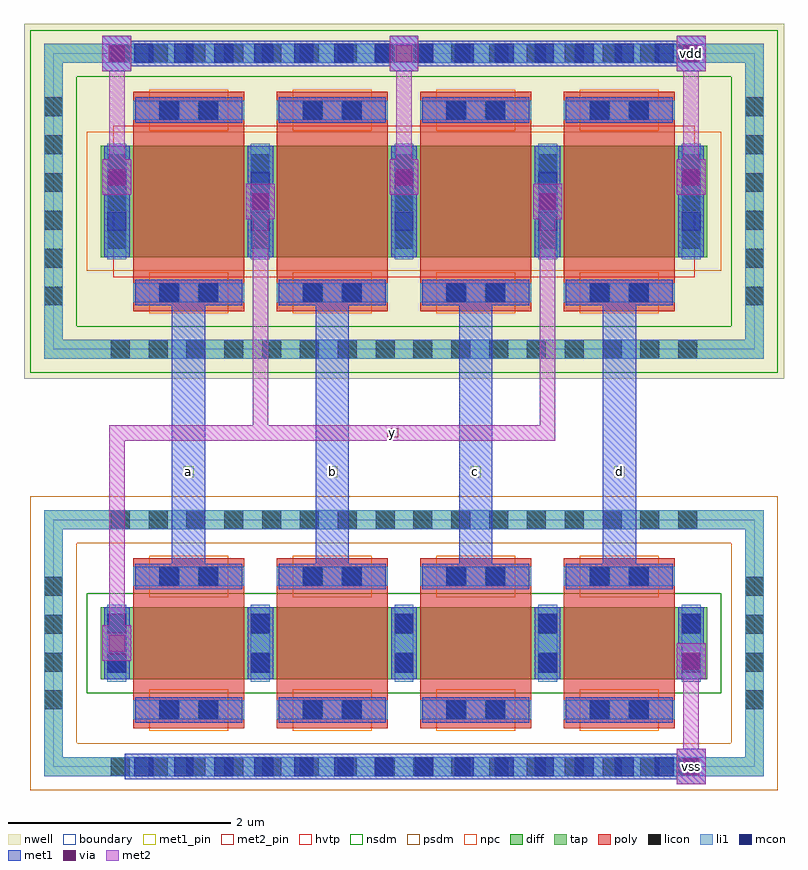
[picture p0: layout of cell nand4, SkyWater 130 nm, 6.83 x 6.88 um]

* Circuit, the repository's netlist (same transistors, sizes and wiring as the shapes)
* SPDX-License-Identifier: Apache-2.0
* Copyright 2026 Mauro Rodriguez Blasco
*
* The encoder's four-input NAND, drawn like a standard cell: PMOS vdd | y | vdd | y | vdd, NMOS
* in series y | m1 | m2 | m3 | vss, input a next to y. Reference for LVS (scripts/flow.py lvs nand4).
.subckt nand4 a b c d y vdd vss
XP1 y a vdd vdd sky130_fd_pr__pfet_01v8_hvt w=1 l=1
XP2 y b vdd vdd sky130_fd_pr__pfet_01v8_hvt w=1 l=1
XP3 y c vdd vdd sky130_fd_pr__pfet_01v8_hvt w=1 l=1
XP4 y d vdd vdd sky130_fd_pr__pfet_01v8_hvt w=1 l=1
XN1 y a m1 vss sky130_fd_pr__nfet_01v8 w=0.65 l=1
XN2 m1 b m2 vss sky130_fd_pr__nfet_01v8 w=0.65 l=1
XN3 m2 c m3 vss sky130_fd_pr__nfet_01v8 w=0.65 l=1
XN4 m3 d vss vss sky130_fd_pr__nfet_01v8 w=0.65 l=1
.ends nand4

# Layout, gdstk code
import gdstk
lib = gdstk.Library(unit=1e-6, precision=1e-09)
def R(c, l, rs):  # rectangles x0, y0, x1, y1
    for r in rs: c.add(gdstk.rectangle(r[:2], r[2:], *l))
def A(c, l, x, y, w, h, nx, ny, dx, dy):  # array of equal rectangles
    R(c, l, [(x+i*dx, y+j*dy, x+i*dx+w, y+j*dy+h) for i in range(nx) for j in range(ny)])
nwell = (64, 20)
diff = (65, 20)
tap = (65, 44)
poly = (66, 20)
licon = (66, 44)
li1 = (67, 20)
mcon = (67, 44)
met1_pin = (68, 16)
met1 = (68, 20)
via = (68, 44)
met2_pin = (69, 16)
met2 = (69, 20)
hvtp = (78, 44)
nsdm = (93, 44)
psdm = (94, 20)
npc = (95, 20)
boundary = (235, 4)

sky130_fd_pr__pfet_01v8_ = lib.new_cell('sky130_fd_pr__pfet_01v8_hvt_CRFMCB')
R(sky130_fd_pr__pfet_01v8_, nwell, [(-3.415,-1.595,3.415,1.595)])
R(sky130_fd_pr__pfet_01v8_, diff, [(-2.725,-0.5,2.725,0.5)])
R(sky130_fd_pr__pfet_01v8_, tap, [(-3.235,-1.415,3.235,-1.245), (-3.235,-1.245,-3.065,1.245), (3.065,-1.245,3.235,1.245), (-3.235,1.245,3.235,1.415)])
A(sky130_fd_pr__pfet_01v8_, poly, -2.435, -0.985, 1, 1.97, 4, 1, 1.29, 0)
A(sky130_fd_pr__pfet_01v8_, licon, -2.635, -1.415, 0.17, 0.17, 16, 2, 0.34, 2.66)
A(sky130_fd_pr__pfet_01v8_, licon, -3.235, -0.935, 0.17, 0.17, 1, 6, 0, 0.34)
A(sky130_fd_pr__pfet_01v8_, licon, 3.065, -0.935, 0.17, 0.17, 1, 6, 0, 0.34)
A(sky130_fd_pr__pfet_01v8_, licon, -2.665, -0.425, 0.17, 0.17, 5, 3, 1.29, 0.34)
R(sky130_fd_pr__pfet_01v8_, licon, [(-2.19,-0.905,-2.02,-0.735), (-1.85,-0.905,-1.68,-0.735), (-0.9,-0.905,-0.73,-0.735), (-0.56,-0.905,-0.39,-0.735), (0.39,-0.905,0.56,-0.735), (0.73,-0.905,0.9,-0.735), (1.68,-0.905,1.85,-0.735), (2.02,-0.905,2.19,-0.735), (-2.19,0.735,-2.02,0.905), (-1.85,0.735,-1.68,0.905), (-0.9,0.735,-0.73,0.905), (-0.56,0.735,-0.39,0.905), (0.39,0.735,0.56,0.905), (0.73,0.735,0.9,0.905), (1.68,0.735,1.85,0.905), (2.02,0.735,2.19,0.905)])
A(sky130_fd_pr__pfet_01v8_, li1, -2.435, -0.905, 1, 0.17, 4, 2, 1.29, 1.64)
A(sky130_fd_pr__pfet_01v8_, li1, -2.665, -0.52, 0.17, 1.04, 5, 1, 1.29, 0)
R(sky130_fd_pr__pfet_01v8_, li1, [(-3.235,-1.415,3.235,-1.245), (-3.235,-1.245,-3.065,1.245), (3.065,-1.245,3.235,1.245), (-3.235,1.245,3.235,1.415)])
A(sky130_fd_pr__pfet_01v8_, mcon, -2.665, -0.265, 0.17, 0.17, 5, 2, 1.29, 0.36)
A(sky130_fd_pr__pfet_01v8_, mcon, -2.425, 1.245, 0.17, 0.17, 14, 1, 0.36, 0)
R(sky130_fd_pr__pfet_01v8_, mcon, [(-2.2,-0.905,-2.03,-0.735), (-1.84,-0.905,-1.67,-0.735), (-0.91,-0.905,-0.74,-0.735), (-0.55,-0.905,-0.38,-0.735), (0.38,-0.905,0.55,-0.735), (0.74,-0.905,0.91,-0.735), (1.67,-0.905,1.84,-0.735), (2.03,-0.905,2.2,-0.735), (-2.2,0.735,-2.03,0.905), (-1.84,0.735,-1.67,0.905), (-0.91,0.735,-0.74,0.905), (-0.55,0.735,-0.38,0.905), (0.38,0.735,0.55,0.905), (0.74,0.735,0.91,0.905), (1.67,0.735,1.84,0.905), (2.03,0.735,2.2,0.905)])
A(sky130_fd_pr__pfet_01v8_, met1, -2.415, -0.935, 0.96, 0.23, 4, 2, 1.29, 1.64)
A(sky130_fd_pr__pfet_01v8_, met1, -2.695, -0.5, 0.23, 1, 5, 1, 1.29, 0)
R(sky130_fd_pr__pfet_01v8_, met1, [(-2.51,1.215,2.51,1.445)])
R(sky130_fd_pr__pfet_01v8_, hvtp, [(-2.615,-0.68,2.615,0.68)])
R(sky130_fd_pr__pfet_01v8_, nsdm, [(-3.36,-1.54,3.36,-1.12), (-3.36,-1.12,-2.94,1.12), (2.94,-1.12,3.36,1.12), (-3.36,1.12,3.36,1.54)])
R(sky130_fd_pr__pfet_01v8_, psdm, [(-2.85,-0.625,2.85,0.625)])
A(sky130_fd_pr__pfet_01v8_, npc, -2.29, -1.005, 0.71, 0.37, 4, 2, 1.29, 1.64)
R(sky130_fd_pr__pfet_01v8_, boundary, [(-3.15,-1.33,3.15,1.33)])
sky130_fd_pr__pfet_01v8_.add(gdstk.Label('B', (0,-1.33), layer=67, texttype=5))
sky130_fd_pr__pfet_01v8_.add(gdstk.Label('D0', (-2.58,0), layer=67, texttype=5))
sky130_fd_pr__pfet_01v8_.add(gdstk.Label('G0', (-1.935,0.82), layer=67, texttype=5))
sky130_fd_pr__pfet_01v8_.add(gdstk.Label('S1', (-1.29,0), layer=67, texttype=5))
sky130_fd_pr__pfet_01v8_.add(gdstk.Label('G1', (-0.645,0.82), layer=67, texttype=5))
sky130_fd_pr__pfet_01v8_.add(gdstk.Label('D2', (0,0), layer=67, texttype=5))
sky130_fd_pr__pfet_01v8_.add(gdstk.Label('G2', (0.645,0.82), layer=67, texttype=5))
sky130_fd_pr__pfet_01v8_.add(gdstk.Label('S3', (1.29,0), layer=67, texttype=5))
sky130_fd_pr__pfet_01v8_.add(gdstk.Label('G3', (1.935,0.82), layer=67, texttype=5))

sky130_fd_pr__nfet_01v8_ = lib.new_cell('sky130_fd_pr__nfet_01v8_ZLFAQ8')
R(sky130_fd_pr__nfet_01v8_, diff, [(-2.725,-0.325,2.725,0.325)])
R(sky130_fd_pr__nfet_01v8_, tap, [(-3.235,-1.195,3.235,-1.025), (-3.235,-1.025,-3.065,1.025), (3.065,-1.025,3.235,1.025), (-3.235,1.025,3.235,1.195)])
A(sky130_fd_pr__nfet_01v8_, poly, -2.435, -0.765, 1, 1.53, 4, 1, 1.29, 0)
A(sky130_fd_pr__nfet_01v8_, licon, -2.635, -1.195, 0.17, 0.17, 16, 2, 0.34, 2.22)
A(sky130_fd_pr__nfet_01v8_, licon, -3.235, -0.595, 0.17, 0.17, 1, 4, 0, 0.34)
A(sky130_fd_pr__nfet_01v8_, licon, 3.065, -0.595, 0.17, 0.17, 1, 4, 0, 0.34)
A(sky130_fd_pr__nfet_01v8_, licon, -2.665, -0.255, 0.17, 0.17, 5, 2, 1.29, 0.34)
R(sky130_fd_pr__nfet_01v8_, licon, [(-2.19,-0.685,-2.02,-0.515), (-1.85,-0.685,-1.68,-0.515), (-0.9,-0.685,-0.73,-0.515), (-0.56,-0.685,-0.39,-0.515), (0.39,-0.685,0.56,-0.515), (0.73,-0.685,0.9,-0.515), (1.68,-0.685,1.85,-0.515), (2.02,-0.685,2.19,-0.515), (-2.19,0.515,-2.02,0.685), (-1.85,0.515,-1.68,0.685), (-0.9,0.515,-0.73,0.685), (-0.56,0.515,-0.39,0.685), (0.39,0.515,0.56,0.685), (0.73,0.515,0.9,0.685), (1.68,0.515,1.85,0.685), (2.02,0.515,2.19,0.685)])
A(sky130_fd_pr__nfet_01v8_, li1, -2.435, -0.685, 1, 0.17, 4, 2, 1.29, 1.2)
A(sky130_fd_pr__nfet_01v8_, li1, -2.665, -0.345, 0.17, 0.69, 5, 1, 1.29, 0)
R(sky130_fd_pr__nfet_01v8_, li1, [(-3.235,-1.195,3.235,-1.025), (-3.235,-1.025,-3.065,1.025), (3.065,-1.025,3.235,1.025), (-3.235,1.025,3.235,1.195)])
A(sky130_fd_pr__nfet_01v8_, mcon, -2.425, -1.195, 0.17, 0.17, 14, 1, 0.36, 0)
A(sky130_fd_pr__nfet_01v8_, mcon, -2.665, -0.265, 0.17, 0.17, 5, 2, 1.29, 0.36)
R(sky130_fd_pr__nfet_01v8_, mcon, [(-2.2,-0.685,-2.03,-0.515), (-1.84,-0.685,-1.67,-0.515), (-0.91,-0.685,-0.74,-0.515), (-0.55,-0.685,-0.38,-0.515), (0.38,-0.685,0.55,-0.515), (0.74,-0.685,0.91,-0.515), (1.67,-0.685,1.84,-0.515), (2.03,-0.685,2.2,-0.515), (-2.2,0.515,-2.03,0.685), (-1.84,0.515,-1.67,0.685), (-0.91,0.515,-0.74,0.685), (-0.55,0.515,-0.38,0.685), (0.38,0.515,0.55,0.685), (0.74,0.515,0.91,0.685), (1.67,0.515,1.84,0.685), (2.03,0.515,2.2,0.685)])
A(sky130_fd_pr__nfet_01v8_, met1, -2.415, -0.715, 0.96, 0.23, 4, 2, 1.29, 1.2)
A(sky130_fd_pr__nfet_01v8_, met1, -2.695, -0.325, 0.23, 0.65, 5, 1, 1.29, 0)
R(sky130_fd_pr__nfet_01v8_, met1, [(-2.51,-1.225,2.51,-0.995)])
R(sky130_fd_pr__nfet_01v8_, nsdm, [(-2.85,-0.45,2.85,0.45)])
R(sky130_fd_pr__nfet_01v8_, psdm, [(-3.36,-1.32,3.36,-0.9), (-3.36,-0.9,-2.94,0.9), (2.94,-0.9,3.36,0.9), (-3.36,0.9,3.36,1.32)])
A(sky130_fd_pr__nfet_01v8_, npc, -2.29, -0.785, 0.71, 0.37, 4, 2, 1.29, 1.2)
R(sky130_fd_pr__nfet_01v8_, boundary, [(-3.15,-1.11,3.15,1.11)])
sky130_fd_pr__nfet_01v8_.add(gdstk.Label('B', (0,-1.11), layer=67, texttype=5))
sky130_fd_pr__nfet_01v8_.add(gdstk.Label('D0', (-2.58,0), layer=67, texttype=5))
sky130_fd_pr__nfet_01v8_.add(gdstk.Label('G0', (-1.935,0.6), layer=67, texttype=5))
sky130_fd_pr__nfet_01v8_.add(gdstk.Label('S1', (-1.29,0), layer=67, texttype=5))
sky130_fd_pr__nfet_01v8_.add(gdstk.Label('G1', (-0.645,0.6), layer=67, texttype=5))
sky130_fd_pr__nfet_01v8_.add(gdstk.Label('D2', (0,0), layer=67, texttype=5))
sky130_fd_pr__nfet_01v8_.add(gdstk.Label('G2', (0.645,0.6), layer=67, texttype=5))
sky130_fd_pr__nfet_01v8_.add(gdstk.Label('S3', (1.29,0), layer=67, texttype=5))
sky130_fd_pr__nfet_01v8_.add(gdstk.Label('G3', (1.935,0.6), layer=67, texttype=5))

nand4 = lib.new_cell('nand4')
A(nand4, met1_pin, 1.17, 2.6, 0.09, 0.1, 4, 1, 1.29, 0)
A(nand4, met1, 1.065, 1.625, 0.3, 2.72, 4, 1, 1.29, 0)
A(nand4, met1, 0.44, 5.14, 0.26, 0.32, 3, 2, 2.58, 1.11)
R(nand4, met1, [(5.6,-0.16,5.86,0.16), (5.6,0.79,5.86,1.11), (0.44,0.95,0.7,1.27), (1.73,4.92,1.99,5.24), (4.31,4.92,4.57,5.24)])
A(nand4, via, 0.495, 5.225, 0.15, 0.15, 3, 2, 2.58, 1.11)
R(nand4, via, [(5.655,-0.075,5.805,0.075), (5.655,0.875,5.805,1.025), (0.495,1.035,0.645,1.185), (1.785,5.005,1.935,5.155), (4.365,5.005,4.515,5.155)])
R(nand4, met2_pin, [(5.69,-0.04,5.77,0.04), (3,2.96,3.1,3.04), (5.69,6.37,5.77,6.45)])
A(nand4, met2, 0.44, 5.14, 0.26, 0.32, 3, 2, 2.58, 1.11)
A(nand4, met2, 0.5, 5.46, 0.14, 0.79, 3, 1, 2.58, 0)
R(nand4, met2, [(5.6,-0.16,5.86,0.16), (5.66,0.16,5.8,0.79), (5.6,0.79,5.86,1.11), (0.44,0.95,0.7,1.27), (0.5,1.27,0.64,2.93), (0.5,2.93,4.51,3.07), (1.79,3.07,1.93,4.92), (4.37,3.07,4.51,4.92), (1.73,4.92,1.99,5.24), (4.31,4.92,4.57,5.24)])
nand4.add(gdstk.Reference(sky130_fd_pr__pfet_01v8_, (3.15,5.08)))
nand4.add(gdstk.Reference(sky130_fd_pr__nfet_01v8_, (3.15,1.11)))
nand4.add(gdstk.Label('a', (1.215,2.65), layer=68, texttype=5))
nand4.add(gdstk.Label('b', (2.505,2.65), layer=68, texttype=5))
nand4.add(gdstk.Label('c', (3.795,2.65), layer=68, texttype=5))
nand4.add(gdstk.Label('d', (5.085,2.65), layer=68, texttype=5))
nand4.add(gdstk.Label('y', (3.05,3), layer=69, texttype=5))
nand4.add(gdstk.Label('vdd', (5.73,6.41), layer=69, texttype=5))
nand4.add(gdstk.Label('vss', (5.73,0), layer=69, texttype=5))

lib.write_gds('nand4.gds')
